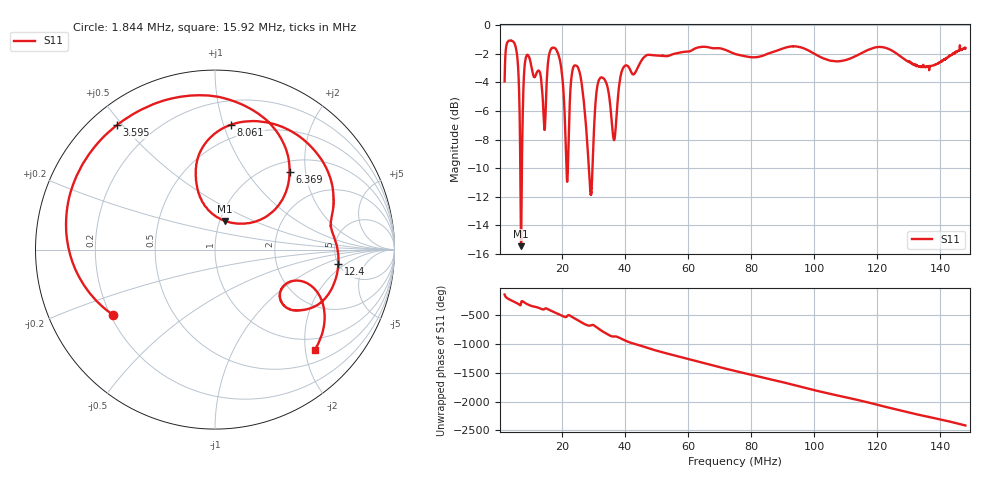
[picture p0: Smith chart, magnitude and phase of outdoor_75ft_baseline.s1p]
! Calibrated high-resolution NanoVNA antenna measurement
# Hz S RI R 50
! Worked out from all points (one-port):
!   40001 points, 1.8 MHz to 148 MHz, reference 50 ohm
!   lowest |S11| = -15.5 dB at 7.023 MHz (marker M1), VSWR 1.41, Z = 53.1 + j17.4 ohm
!   |S11| at or under -10 dB: 6.779 MHz to 7.279 MHz (499.8 kHz wide, 7.11 % of centre); 21.41 MHz to 21.88 MHz (467.2 kHz wide, 2.16 % of centre); 28.53 MHz to 29.68 MHz (1.145 MHz wide, 3.93 % of centre)
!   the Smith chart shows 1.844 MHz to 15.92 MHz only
!   S11 on the Smith chart (normalised r, x): 1.844 MHz: 0.21, -0.28; 3.595 MHz: 0.08, +0.48; 6.369 MHz: 1.21, +1.64; 8.061 MHz: 0.39, +1.06; 12.4 MHz: 5.01, -1.54; 15.92 MHz: 0.75, -2.20
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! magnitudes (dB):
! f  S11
! 1.8 MHz  -3.9
! 1.844 MHz  -3.4
! 3.595 MHz  -1.1
! 5.565 MHz  -1.8
! 6.369 MHz  -4.4
! 7.023 MHz  -15.5
! 7.491 MHz  -6.9
! 8.061 MHz  -3.1
! 9.026 MHz  -2.1
! 12.4 MHz  -3.2
! 14.4 MHz  -7.2
! 15.92 MHz  -2.1
! 18.21 MHz  -1.7
! 20.07 MHz  -3.6
! 21.61 MHz  -10.9
! 23.31 MHz  -3.2
! 25.47 MHz  -3.2
! 29.07 MHz  -11.8
! 31.66 MHz  -3.9
! 34.17 MHz  -4.1
! 36.49 MHz  -8.0
! 38.35 MHz  -3.9
! 56.62 MHz  -2.0
! 74.9 MHz  -2.0
! 93.17 MHz  -1.5
! 111.5 MHz  -2.3
! 129.7 MHz  -2.5
! 148 MHz  -1.6
